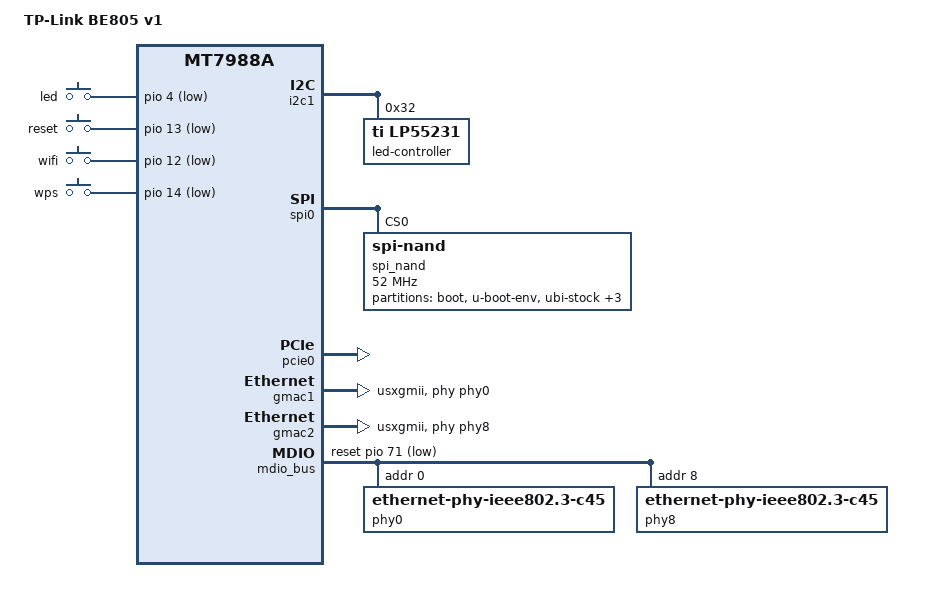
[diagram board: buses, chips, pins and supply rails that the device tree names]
// SPDX-License-Identifier: GPL-2.0-or-later OR MIT
// Author: Yanase Yuki <dev@zpc.st>
// Author: Tuan Phan <pttuan@gmail.com>

/dts-v1/;
#include "mt7988a-rfb.dts"
#include <dt-bindings/input/input.h>
#include <dt-bindings/gpio/gpio.h>
#include <dt-bindings/leds/common.h>

/ {
	compatible = "tplink,be805-v1", "mediatek,mt7988a";
	model = "TP-Link BE805 v1";

	aliases {
		serial0 = &serial0;
		led-boot = &led_center_blue;
		led-failsafe = &led_center_red;
		led-running = &led_center_green;
		led-upgrade = &led_center_red;
	};

	chosen {
		bootargs = "root=/dev/fit0 rootwait";
		rootdisk = <&ubi_rootdisk>;
		stdout-path = "serial0:115200n8";
	};

	gpio-keys {
		compatible = "gpio-keys";

		led-button {
			gpios = <&pio 4 GPIO_ACTIVE_LOW>;
			label = "led";
			linux,code = <KEY_BRIGHTNESS_ZERO>;
		};

		reset-button {
			gpios = <&pio 13 GPIO_ACTIVE_LOW>;
			label = "reset";
			linux,code = <KEY_RESTART>;
		};

		wifi-button {
			gpios = <&pio 12 GPIO_ACTIVE_LOW>;
			label = "wifi";
			linux,code = <KEY_WLAN>;
		};

		wps-button {
			gpios = <&pio 14 GPIO_ACTIVE_LOW>;
			label = "wps";
			linux,code = <KEY_WPS_BUTTON>;
		};
	};
};

&i2c1 {
	pinctrl-names = "default";
	pinctrl-0 = <&i2c1_pins>;
	status = "okay";

	led-controller@32 {
		compatible = "ti,lp55231";
		reg = <0x32>;
		#address-cells = <1>;
		#size-cells = <0>;

		clock-mode = /bits/ 8 <1>;

		led_center_blue: led@0 {
			reg = <0>;
			color = <LED_COLOR_ID_BLUE>;
			led-cur = /bits/ 8 <0x14>;
			max-cur = /bits/ 8 <0x20>;
			chan-name = "led-center-blue";
		};

		led@1 {
			reg = <1>;
			color = <LED_COLOR_ID_BLUE>;
			led-cur = /bits/ 8 <0x14>;
			max-cur = /bits/ 8 <0x20>;
			chan-name = "led-left-blue";
		};

		led@2 {
			reg = <2>;
			color = <LED_COLOR_ID_BLUE>;
			led-cur = /bits/ 8 <0x14>;
			max-cur = /bits/ 8 <0x20>;
			chan-name = "led-right-blue";
		};

		led_center_green: led@3 {
			reg = <3>;
			color = <LED_COLOR_ID_GREEN>;
			led-cur = /bits/ 8 <0x14>;
			max-cur = /bits/ 8 <0x20>;
			chan-name = "led-center-green";
		};

		led@4 {
			reg = <4>;
			color = <LED_COLOR_ID_GREEN>;
			led-cur = /bits/ 8 <0x14>;
			max-cur = /bits/ 8 <0x20>;
			chan-name = "led-left-green";
		};

		led@5 {
			reg = <5>;
			color = <LED_COLOR_ID_GREEN>;
			led-cur = /bits/ 8 <0x14>;
			max-cur = /bits/ 8 <0x20>;
			chan-name = "led-right-green";
		};

		led_center_red: led@6 {
			reg = <6>;
			color = <LED_COLOR_ID_RED>;
			led-cur = /bits/ 8 <0x14>;
			max-cur = /bits/ 8 <0x20>;
			chan-name = "led-center-red";
		};

		led@7 {
			reg = <7>;
			color = <LED_COLOR_ID_RED>;
			led-cur = /bits/ 8 <0x14>;
			max-cur = /bits/ 8 <0x20>;
			chan-name = "led-left-red";
		};

		led@8 {
			reg = <8>;
			color = <LED_COLOR_ID_RED>;
			led-cur = /bits/ 8 <0x14>;
			max-cur = /bits/ 8 <0x20>;
			chan-name = "led-right-red";
		};
	};
};

&spi0 {
	pinctrl-names = "default";
	pinctrl-0 = <&spi0_flash_pins>;
	status = "okay";

	spi_nand: spi_nand@0 {
		compatible = "spi-nand";
		reg = <0>;
		spi-max-frequency = <52000000>;
		spi-tx-bus-width = <4>;
		spi-rx-bus-width = <4>;
		// use stock firmware's value
		spi-cal-enable;
		spi-cal-mode = "read-data";
		spi-cal-datalen = <7>;
		spi-cal-data = /bits/ 8 <0x53 0x50 0x49 0x4e 0x41 0x4e 0x44>;
		spi-cal-addrlen = <5>;
		spi-cal-addr = <0 0 0 0 0>;
	};
};

&pcie0 {
	status = "okay";

	pcie@0,0 {
		reg = <0x0000 0 0 0 0>;
		#address-cells = <3>;
		#size-cells = <2>;

		mt7996@0,0 {
			reg = <0x0000 0 0 0 0>;

			nvmem-cells = <&mt7996_eeprom>;
			nvmem-cell-names = "eeprom";
		};
	};
};

&int_2p5g_phy {
	status = "disabled";
};

&gmac0 {
	nvmem-cell-names = "mac-address";
	nvmem-cells = <&mac_base 0>;
};

&gmac1 {
	phy-mode = "usxgmii";
	phy = <&phy0>;
	managed = "in-band-status";
	nvmem-cell-names = "mac-address";
	nvmem-cells = <&mac_base 1>;
	status = "okay";
};

&gmac2 {
	phy-mode = "usxgmii";
	phy = <&phy8>;
	managed = "in-band-status";
	nvmem-cell-names = "mac-address";
	nvmem-cells = <&mac_base 2>;
	status = "okay";
};

&mdio_bus {
	reset-gpios = <&pio 71 GPIO_ACTIVE_LOW>;
	reset-delay-us = <100000>;
	reset-post-delay-us = <1000000>;
	clock-frequency = <10500000>;

	/* external Aquantia AQR113C */
	phy0: ethernet-phy@0 {
		compatible = "ethernet-phy-ieee802.3-c45";
		reg = <0>;
		firmware-name = "Rhe-05.06-Candidate9-AQR_Mediatek_23B_P5_ID45824_LCLVER1.cld";
		marvell,mdi-cfg-order = <0>;
	};

	/* external Aquantia AQR113C */
	phy8: ethernet-phy@8 {
		compatible = "ethernet-phy-ieee802.3-c45";
		reg = <8>;
		firmware-name = "Rhe-05.06-Candidate9-AQR_Mediatek_23B_P5_ID45824_LCLVER1.cld";
		marvell,mdi-cfg-order = <0>;
	};
};

&spi_nand {
	partitions {
		compatible = "fixed-partitions";
		#address-cells = <1>;
		#size-cells = <1>;

		partition@0 {
			reg = <0x0 0x200000>;
			label = "boot";
			read-only;
		};

		partition@200000 {
			reg = <0x200000 0x100000>;
			label = "u-boot-env";
			read-only;

			nvmem-layout {
				compatible = "u-boot,env";
				env-size = <0x20000>;

				mac_base: ethaddr {
					#nvmem-cell-cells = <1>;
				};
			};
		};

		partition@300000 {
			reg = <0x300000 0x3200000>;
			label = "ubi-stock";
		};

		partition@3500000 {
			compatible = "linux,ubi";
			reg = <0x3500000 0x3200000>;
			label = "ubi";

			volumes {
				ubi-volume-eeprom {
					volname = "eeprom";

					nvmem-layout {
						compatible = "fixed-layout";
						#address-cells = <1>;
						#size-cells = <1>;

						mt7996_eeprom: eeprom@0 {
							reg = <0x0 0x1e00>;
						};
					};
				};

				ubi_rootdisk: ubi-volume-fit {
					volname = "fit";
				};
			};
		};

		partition@6700000 {
			reg = <0x6700000 0x800000>;
			label = "userconfig";
			read-only;
		};

		partition@6f00000 {
			reg = <0x6f00000 0x800000>;
			label = "tp_data";
			read-only;
		};
	};
};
